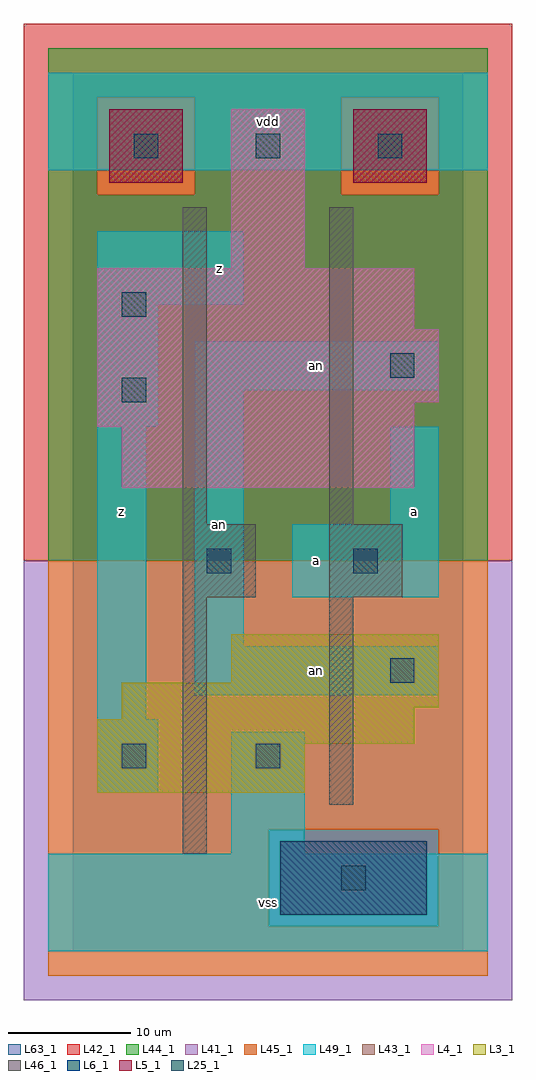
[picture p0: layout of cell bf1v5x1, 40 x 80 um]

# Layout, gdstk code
import gdstk
lib = gdstk.Library(unit=1e-6, precision=1e-09)
def R(c, l, rs):  # rectangles x0, y0, x1, y1
    for r in rs: c.add(gdstk.rectangle(r[:2], r[2:], *l))
def A(c, l, x, y, w, h, nx, ny, dx, dy):  # array of equal rectangles
    R(c, l, [(x+i*dx, y+j*dy, x+i*dx+w, y+j*dy+h) for i in range(nx) for j in range(ny)])
L3_1 = (3, 1)
L4_1 = (4, 1)
L5_1 = (5, 1)
L6_1 = (6, 1)
L25_1 = (25, 1)
L41_1 = (41, 1)
L42_1 = (42, 1)
L43_1 = (43, 1)
L44_1 = (44, 1)
L45_1 = (45, 1)
L46_1 = (46, 1)
L49_1 = (49, 1)
L63_1 = (63, 1)

bf1v5x1 = lib.new_cell('bf1v5x1')
R(bf1v5x1, L3_1, [(2,13,19,17), (2,17,28,19), (4,19,28,20), (4,20,30,22), (13,22,30,26)])
R(bf1v5x1, L4_1, [(4,38,28,43), (2,43,28,45), (2,45,30,51), (2,51,28,56), (13,56,19,69)])
R(bf1v5x1, L5_1, [(3,63,9,69), (23,63,29,69)])
R(bf1v5x1, L6_1, [(17,3,29,9), (17,3,29,9)])
A(bf1v5x1, L25_1, 5, 65, 2, 2, 3, 1, 10, 0)
R(bf1v5x1, L25_1, [(22,5,24,7), (4,15,6,17), (15,15,17,17), (26,22,28,24), (11,31,13,33), (23,31,25,33), (4,45,6,47), (26,47,28,49), (4,52,6,54)])
R(bf1v5x1, L41_1, [(-4,-4,36,32)])
R(bf1v5x1, L42_1, [(-4,32,36,76)])
R(bf1v5x1, L43_1, [(17,3,29,9), (2,13,19,17), (2,17,28,19), (4,19,28,20), (4,20,30,22), (13,22,30,26), (4,38,28,43), (2,43,28,45), (2,45,30,51), (2,51,28,56), (13,56,19,69), (3,63,9,69), (23,63,29,69)])
R(bf1v5x1, L44_1, [(16,2,30,10), (-2,32,34,62), (-2,62,2,70), (10,62,22,70), (30,62,34,70), (-2,70,34,74)])
R(bf1v5x1, L45_1, [(-2,-2,34,2), (-2,2,16,10), (30,2,34,10), (-2,10,34,32), (2,62,10,70), (22,62,30,70)])
R(bf1v5x1, L46_1, [(9,8,11,29), (21,12,23,29), (9,29,15,35), (21,29,27,35), (9,35,11,61), (21,35,23,61)])
R(bf1v5x1, L49_1, [(-2,0,34,8), (13,8,19,18), (2,13,7,19), (2,19,6,43), (10,21,30,25), (10,25,14,46), (18,29,30,35), (26,35,30,43), (2,43,7,53), (10,46,30,50), (2,53,14,59), (-2,64,34,72)])
R(bf1v5x1, L63_1, [(0,0,32,72)])
bf1v5x1.add(gdstk.Label('z', (4,36), layer=49, texttype=1))
bf1v5x1.add(gdstk.Label('an', (12,35), layer=49, texttype=1))
bf1v5x1.add(gdstk.Label('z', (12,56), layer=49, texttype=1))
bf1v5x1.add(gdstk.Label('vss', (16,4), layer=49, texttype=1))
bf1v5x1.add(gdstk.Label('a', (20,32), layer=49, texttype=1))
bf1v5x1.add(gdstk.Label('vdd', (16,68), layer=49, texttype=1))
bf1v5x1.add(gdstk.Label('an', (20,23), layer=49, texttype=1))
bf1v5x1.add(gdstk.Label('a', (28,36), layer=49, texttype=1))
bf1v5x1.add(gdstk.Label('an', (20,48), layer=49, texttype=1))

lib.write_gds('bf1v5x1.gds')
